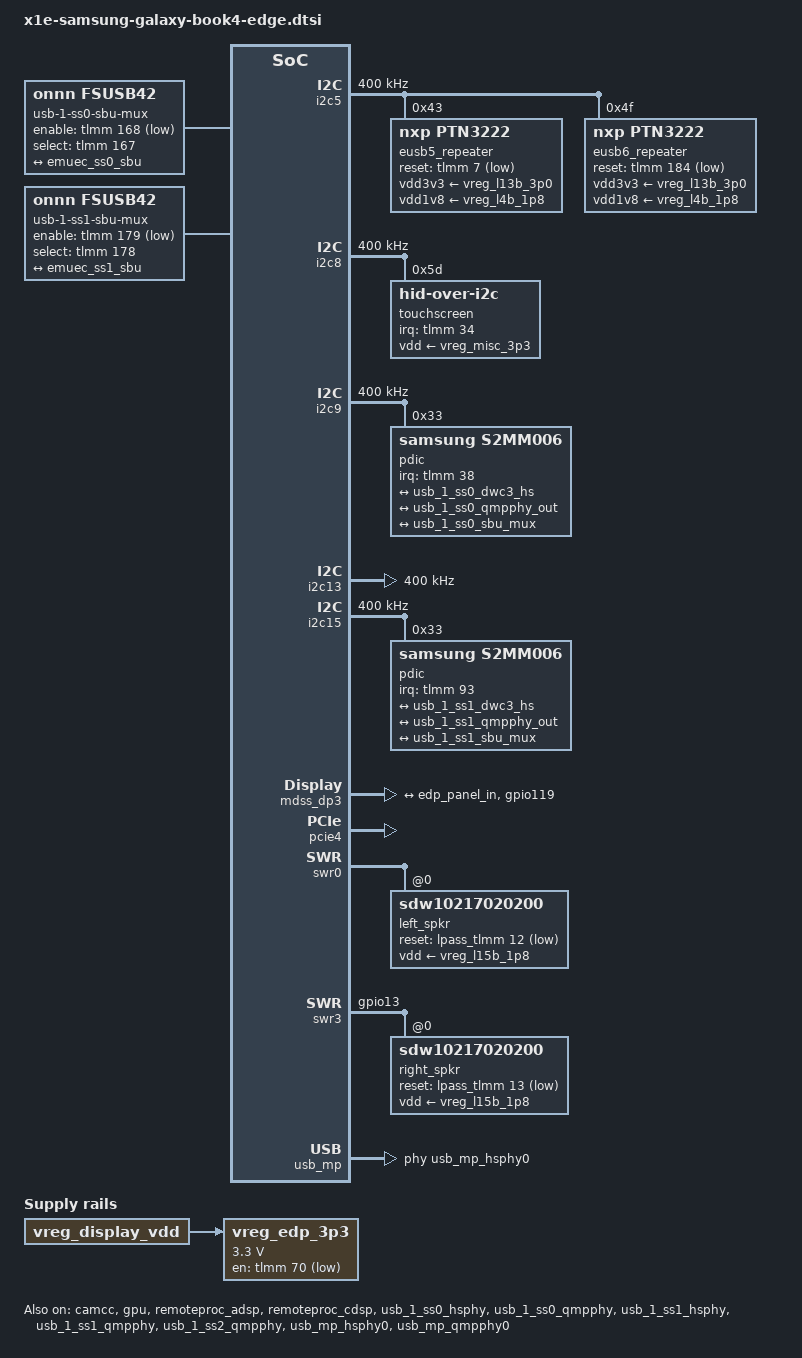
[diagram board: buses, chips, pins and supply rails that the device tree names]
// SPDX-License-Identifier: BSD-3-Clause
/*
 * Copyright (c) 2023 Qualcomm Innovation Center, Inc. All rights reserved.
 * Copyright (c) 2025 Kirill A. Korinsky <kirill@korins.ky>
 * Copyright (c) 2025 Valentin Manea <valentin.manea@mrs.ro>
 */

#include "hamoa.dtsi"
#include "hamoa-pmics.dtsi"
#include "x1-samsung-galaxy-book4-edge.dtsi"

/ {
	sound {
		model = "X1E80100-GalaxyBook4Edge";
		audio-routing = "SpkrLeft IN", "WSA WSA_SPK1 OUT",
				"SpkrRight IN", "WSA2 WSA_SPK2 OUT",
				"IN1_HPHL", "HPHL_OUT",
				"IN2_HPHR", "HPHR_OUT",
				"AMIC2", "MIC BIAS2",
				"VA DMIC0", "MIC BIAS3",
				"VA DMIC1", "MIC BIAS3",
				"VA DMIC2", "MIC BIAS1",
				"VA DMIC3", "MIC BIAS1",
				"TX SWR_INPUT1", "ADC2_OUTPUT";

		wsa-dai-link {
			link-name = "WSA Playback";

			codec {
				sound-dai = <&left_spkr>, <&swr0 0>, <&lpass_wsamacro 0>,
					    <&right_spkr>, <&swr3 0>, <&lpass_wsa2macro 0>;
			};

			cpu {
				sound-dai = <&q6apmbedai WSA_CODEC_DMA_RX_0>;
			};

			platform {
				sound-dai = <&q6apm>;
			};
		};
	};

	vreg_edp_3p3: regulator-edp-3p3 {
		compatible = "regulator-fixed";

		regulator-name = "VREG_EDP_3P3";
		regulator-min-microvolt = <3300000>;
		regulator-max-microvolt = <3300000>;

		gpio = <&tlmm 70 GPIO_ACTIVE_LOW>;
		enable-active-low;

		pinctrl-0 = <&edp_reg_en>;
		pinctrl-names = "default";

		startup-delay-us = <1000>;
		regulator-enable-ramp-delay = <1000>;

		vin-supply = <&vreg_display_vdd>;

		regulator-always-on;
		regulator-boot-on;
	};

	usb-1-ss0-sbu-mux {
		compatible = "onnn,fsusb42", "gpio-sbu-mux";

		enable-gpios = <&tlmm 168 GPIO_ACTIVE_LOW>;
		select-gpios = <&tlmm 167 GPIO_ACTIVE_HIGH>;

		pinctrl-0 = <&usb_1_ss0_sbu_default>;
		pinctrl-names = "default";

		mode-switch;
		orientation-switch;

		port {
			usb_1_ss0_sbu_mux: endpoint {
				remote-endpoint = <&emuec_ss0_sbu>;
			};
		};
	};

	usb-1-ss1-sbu-mux {
		compatible = "onnn,fsusb42", "gpio-sbu-mux";

		enable-gpios = <&tlmm 179 GPIO_ACTIVE_LOW>;
		select-gpios = <&tlmm 178 GPIO_ACTIVE_HIGH>;

		pinctrl-0 = <&usb_1_ss1_sbu_default>;
		pinctrl-names = "default";

		mode-switch;
		orientation-switch;

		port {
			usb_1_ss1_sbu_mux: endpoint {
				remote-endpoint = <&emuec_ss1_sbu>;
			};
		};
	};
};

&camcc {
	status = "okay";
};

&gpu {
	status = "okay";

	zap-shader {
		firmware-name = "qcom/x1e80100/SAMSUNG/galaxy-book4-edge/qcdxkmsuc8380.mbn";
	};
};

&i2c5 {
	clock-frequency = <400000>;

	status = "okay";

	eusb5_repeater: redriver@43 {
		compatible = "nxp,ptn3222";
		reg = <0x43>;
		#phy-cells = <0>;

		vdd3v3-supply = <&vreg_l13b_3p0>;
		vdd1v8-supply = <&vreg_l4b_1p8>;

		reset-gpios = <&tlmm 7 GPIO_ACTIVE_LOW>;

		pinctrl-0 = <&eusb5_reset_n>;
		pinctrl-names = "default";
	};

	eusb6_repeater: redriver@4f {
		compatible = "nxp,ptn3222";
		reg = <0x4f>;
		#phy-cells = <0>;

		vdd3v3-supply = <&vreg_l13b_3p0>;
		vdd1v8-supply = <&vreg_l4b_1p8>;

		reset-gpios = <&tlmm 184 GPIO_ACTIVE_LOW>;

		pinctrl-0 = <&eusb6_reset_n>;
		pinctrl-names = "default";
	};
};

&i2c8 {
	clock-frequency = <400000>;

	status = "okay";

	touchscreen@5d {
		compatible = "hid-over-i2c";
		reg = <0x5d>;

		hid-descr-addr = <0x1>;
		interrupts-extended = <&tlmm 34 IRQ_TYPE_LEVEL_LOW>;

		vdd-supply = <&vreg_misc_3p3>;

		pinctrl-0 = <&ts0_default>;
		pinctrl-names = "default";
	};
};

&i2c9 {
	clock-frequency = <400000>;

	status = "okay";

	pdic@33 {
		compatible = "samsung,s2mm006";
		reg = <0x33>;
		interrupts-extended = <&tlmm 38 IRQ_TYPE_LEVEL_LOW>;

		/* Left-side rear port */
		connector {
			compatible = "usb-c-connector";
			power-role = "dual";
			data-role = "dual";

			ports {
				#address-cells = <1>;
				#size-cells = <0>;

				port@0 {
					reg = <0>;

					emuec_ss0_hs_in: endpoint {
						remote-endpoint = <&usb_1_ss0_dwc3_hs>;
					};
				};

				port@1 {
					reg = <1>;

					emuec_ss0_ss_in: endpoint {
						remote-endpoint = <&usb_1_ss0_qmpphy_out>;
					};
				};

				port@2 {
					reg = <2>;

					emuec_ss0_sbu: endpoint {
						remote-endpoint = <&usb_1_ss0_sbu_mux>;
					};
				};
			};
		};
	};
};

&i2c13 {
	clock-frequency = <400000>;
	status = "okay";
};

&i2c15 {
	clock-frequency = <400000>;

	status = "okay";

	pdic@33 {
		compatible = "samsung,s2mm006";
		reg = <0x33>;
		interrupts-extended = <&tlmm 93 IRQ_TYPE_LEVEL_LOW>;

		/* Left-side front port */
		connector {
			compatible = "usb-c-connector";
			power-role = "dual";
			data-role = "dual";

			ports {
				#address-cells = <1>;
				#size-cells = <0>;

				port@0 {
					reg = <0>;

					emuec_ss1_hs_in: endpoint {
						remote-endpoint = <&usb_1_ss1_dwc3_hs>;
					};
				};

				port@1 {
					reg = <1>;

					emuec_ss1_ss_in: endpoint {
						remote-endpoint = <&usb_1_ss1_qmpphy_out>;
					};
				};

				port@2 {
					reg = <2>;

					emuec_ss1_sbu: endpoint {
						remote-endpoint = <&usb_1_ss1_sbu_mux>;
					};
				};
			};
		};
	};
};

&lpass_tlmm {
	spkr_23_sd_n_active: spkr-23-sd-n-active-state {
		pins = "gpio13";
		function = "gpio";
		drive-strength = <16>;
		bias-disable;
		output-low;
	};
};

&lpass_vamacro {
	pinctrl-0 = <&dmic01_default>, <&dmic23_default>;
	pinctrl-names = "default";

	vdd-micb-supply = <&vreg_l1b_1p8>;
	qcom,dmic-sample-rate = <4800000>;
};

&mdss_dp0_out {
	data-lanes = <0 1>;
	link-frequencies = /bits/ 64 <1620000000 2700000000 5400000000 8100000000>;
};

&mdss_dp1_out {
	data-lanes = <0 1>;
	link-frequencies = /bits/ 64 <1620000000 2700000000 5400000000 8100000000>;
};

&mdss_dp3 {
	/delete-property/ #sound-dai-cells;

	pinctrl-0 = <&edp0_hpd_default>;
	pinctrl-names = "default";

	status = "okay";

	aux-bus {
		panel: panel {

			enable-gpios = <&pmc8380_3_gpios 4 GPIO_ACTIVE_HIGH>;
			power-supply = <&vreg_edp_3p3>;
			no-hpd;

			pinctrl-0 = <&edp_bl_en>;
			pinctrl-names = "default";

			port {
				edp_panel_in: endpoint {
					remote-endpoint = <&mdss_dp3_out>;
				};
			};
		};
	};

	ports {
		port@1 {
			reg = <1>;
			mdss_dp3_out: endpoint {
				data-lanes = <0 1 2 3>;
				link-frequencies = /bits/ 64 <1620000000 2700000000 5400000000>;

				remote-endpoint = <&edp_panel_in>;
			};
		};
	};
};

&pcie4 {
	perst-gpios = <&tlmm 146 GPIO_ACTIVE_LOW>;
	wake-gpios = <&tlmm 148 GPIO_ACTIVE_LOW>;

	pinctrl-0 = <&pcie4_default>;
	pinctrl-names = "default";

	status = "okay";
};

&remoteproc_adsp {
	firmware-name = "qcom/x1e80100/SAMSUNG/galaxy-book4-edge/qcadsp8380.mbn",
			"qcom/x1e80100/SAMSUNG/galaxy-book4-edge/adsp_dtbs.elf";

	status = "okay";
};

&remoteproc_cdsp {
	firmware-name = "qcom/x1e80100/SAMSUNG/galaxy-book4-edge/qccdsp8380.mbn",
			"qcom/x1e80100/SAMSUNG/galaxy-book4-edge/cdsp_dtbs.elf";

	status = "okay";
};

&swr0 {
	status = "okay";

	pinctrl-0 = <&wsa_swr_active>, <&spkr_01_sd_n_active>;
	pinctrl-names = "default";

	/* The NP940XMA has one WSA8835 on each speaker bus. */
	left_spkr: speaker@0,2 {
		compatible = "sdw10217020200";
		reg = <0 2>;
		reset-gpios = <&lpass_tlmm 12 GPIO_ACTIVE_LOW>;
		#sound-dai-cells = <0>;
		#thermal-sensor-cells = <0>;
		sound-name-prefix = "SpkrLeft";
		vdd-supply = <&vreg_l15b_1p8>;
		qcom,port-mapping = <1 2 3 7>;
	};
};

&swr3 {
	status = "okay";

	pinctrl-0 = <&wsa2_swr_active>, <&spkr_23_sd_n_active>;
	pinctrl-names = "default";

	right_spkr: speaker@0,2 {
		compatible = "sdw10217020200";
		reg = <0 2>;
		reset-gpios = <&lpass_tlmm 13 GPIO_ACTIVE_LOW>;
		#sound-dai-cells = <0>;
		#thermal-sensor-cells = <0>;
		sound-name-prefix = "SpkrRight";
		vdd-supply = <&vreg_l15b_1p8>;
		qcom,port-mapping = <1 2 3 7>;
	};
};

&tlmm {
	gpio-reserved-ranges = <35 1>, /* Unused */
			       <44 4>;

	edp0_hpd_default: edp0-hpd-default-state {
		pins = "gpio119";
		function = "edp0_hot";
		bias-pull-down;
		input-enable;
		drive-strength = <2>;
	};

	eusb5_reset_n: eusb5-reset-n-state {
		pins = "gpio7";
		function = "gpio";
		drive-strength = <2>;
		bias-disable;
		output-low;
	};

	eusb6_reset_n: eusb6-reset-n-state {
		pins = "gpio184";
		function = "gpio";
		drive-strength = <2>;
		bias-disable;
		output-low;
	};

	ts0_default: ts0-default-state {
		pins = "gpio34";
		function = "gpio";
		bias-disable;
	};

	usb_1_ss0_sbu_default: usb-1-ss0-sbu-state {
		mode-pins {
			pins = "gpio166";
			function = "gpio";
			bias-disable;
			drive-strength = <2>;
			output-high;
		};

		oe-n-pins {
			pins = "gpio168";
			function = "gpio";
			bias-disable;
			drive-strength = <2>;
		};

		sel-pins {
			pins = "gpio167";
			function = "gpio";
			bias-disable;
			drive-strength = <2>;
		};

	};

	usb_1_ss1_sbu_default: usb-1-ss1-sbu-state {
		mode-pins {
			pins = "gpio177";
			function = "gpio";
			bias-disable;
			drive-strength = <2>;
			output-high;
		};

		oe-n-pins {
			pins = "gpio179";
			function = "gpio";
			bias-disable;
			drive-strength = <2>;
		};

		sel-pins {
			pins = "gpio178";
			function = "gpio";
			bias-disable;
			drive-strength = <2>;
		};
	};
};

&usb_1_ss0_hsphy {
	vdd-supply = <&vreg_l3j_0p8>;
	vdda12-supply = <&vreg_l2j_1p2>;

	status = "okay";
};

&usb_1_ss0_qmpphy {
	vdda-phy-supply = <&vreg_l2j_1p2>;
	vdda-pll-supply = <&vreg_l1j_0p8>;

	status = "okay";
};

&usb_1_ss0_qmpphy_out {
	remote-endpoint = <&emuec_ss0_ss_in>;
};

&usb_1_ss1_hsphy {
	vdd-supply = <&vreg_l3j_0p8>;
	vdda12-supply = <&vreg_l2j_1p2>;

	status = "okay";
};

&usb_1_ss1_qmpphy {
	vdda-phy-supply = <&vreg_l2j_1p2>;
	vdda-pll-supply = <&vreg_l2d_0p9>;

	status = "okay";
};

&usb_1_ss1_qmpphy_out {
	remote-endpoint = <&emuec_ss1_ss_in>;
};

&usb_1_ss2_qmpphy {
	vdda-phy-supply = <&vreg_l2j_1p2>;
	vdda-pll-supply = <&vreg_l2d_0p9>;

	/delete-property/ mode-switch;
	/delete-property/ orientation-switch;

	status = "okay";

	ports {
		port@0 {
			#address-cells = <1>;
			#size-cells = <0>;

			/delete-node/ endpoint;

			usb_1_ss2_qmpphy_out_dp: endpoint@0 {
				reg = <0>;

				data-lanes = <3 2 1 0>;
				remote-endpoint = <&hdmi_bridge_dp_in>;
			};
		};
	};
};

/* MP0 goes to the USB-A port(USB3) and FPC */
&usb_mp {
	status = "okay";

	/* Limit to single port */
	phys = <&usb_mp_hsphy0>, <&usb_mp_qmpphy0>;
	phy-names = "usb2-0", "usb3-0";
};

&usb_mp_hsphy0 {
	vdd-supply = <&vreg_l2e_0p8>;
	vdda12-supply = <&vreg_l3e_1p2>;

	phys = <&eusb6_repeater>;

	status = "okay";
};

&usb_mp_qmpphy0 {
	vdda-phy-supply = <&vreg_l3e_1p2>;
	vdda-pll-supply = <&vreg_l3c_0p8>;

	status = "okay";
};
